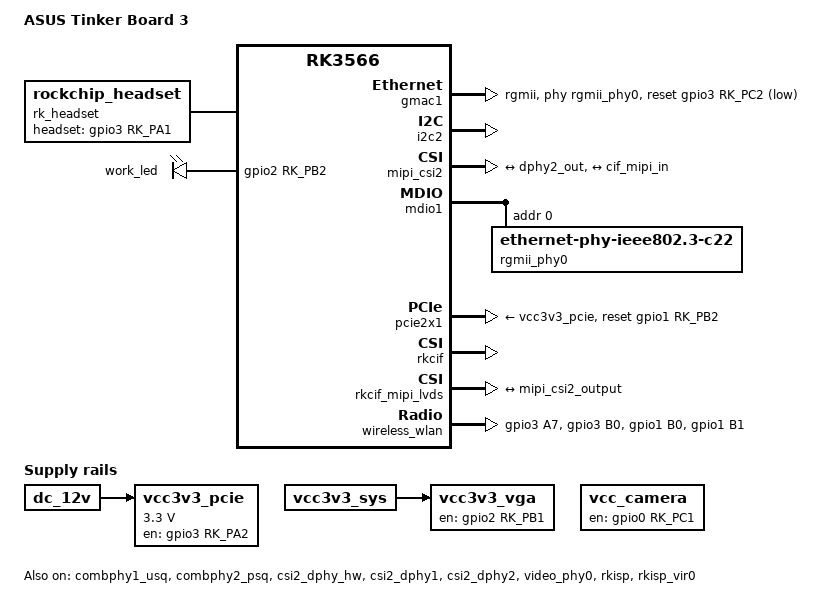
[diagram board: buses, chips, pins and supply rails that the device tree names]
// SPDX-License-Identifier: (GPL-2.0+ OR MIT)
/*
 * Copyright (c) 2020 Rockchip Electronics Co., Ltd.
 */

/dts-v1/;

#include <dt-bindings/gpio/gpio.h>
#include <dt-bindings/pinctrl/rockchip.h>
#include "rk3566.dtsi"
#include "rk3566-tinker_board_3-common.dtsi"

/ {
	model = "ASUS Tinker Board 3";
	compatible = "rockchip,rk3566-evb1-ddr4-v10", "rockchip,rk3566";

	vcc3v3_pcie: gpio-regulator {
		compatible = "regulator-fixed";
		regulator-name = "vcc3v3_pcie";
		regulator-min-microvolt = <3300000>;
		regulator-max-microvolt = <3300000>;
		enable-active-high;
		regulator-always-on;
                regulator-boot-on;
		gpio = <&gpio3 RK_PA2 GPIO_ACTIVE_HIGH>;
		startup-delay-us = <5000>;
		vin-supply = <&dc_12v>;
	};

	rk_headset: rk-headset {
		compatible = "rockchip_headset";
		headset_gpio = <&gpio3 RK_PA1 GPIO_ACTIVE_HIGH>;
		pinctrl-names = "default";
		pinctrl-0 = <&hp_det>;
	};

	vcc3v3_vga: vcc3v3-vga {
		compatible = "regulator-fixed";
		regulator-name = "vcc3v3_vga";
		regulator-always-on;
		regulator-boot-on;
		gpio = <&gpio2 RK_PB1 GPIO_ACTIVE_HIGH>;
		enable-active-high;
		vin-supply = <&vcc3v3_sys>;
	};

	vcc_camera: vcc-camera-regulator {
		compatible = "regulator-fixed";
		gpio = <&gpio0 RK_PC1 GPIO_ACTIVE_HIGH>;
		pinctrl-names = "default";
		pinctrl-0 = <&camera_pwr>;
		regulator-name = "vcc_camera";
		enable-active-high;
		regulator-always-on;
		regulator-boot-on;
	};
};

&audiopwmout_diff {
	status = "disabled";
};

&combphy1_usq {
	status = "okay";
};

&combphy2_psq {
	status = "okay";
};

&csi2_dphy_hw {
	status = "okay";
};

&csi2_dphy1 {
	status = "okay";

	/*
	 * dphy1 only used for split mode,
	 * can be used  concurrently  with dphy2
	 * full mode and split mode are mutually exclusive
	 */
	ports {
		#address-cells = <1>;
		#size-cells = <0>;

		port@0 {
			reg = <0>;
			#address-cells = <1>;
			#size-cells = <0>;

			dphy1_in: endpoint@1 {
				reg = <1>;
				remote-endpoint = <&ov5695_out>;
				data-lanes = <1 2>;
			};
		};

		port@1 {
			reg = <1>;
			#address-cells = <1>;
			#size-cells = <0>;

			dphy1_out: endpoint@1 {
				reg = <1>;
				remote-endpoint = <&isp0_in>;
			};
		};
	};
};

&csi2_dphy2 {
	status = "okay";

	/*
	 * dphy2 only used for split mode,
	 * can be used  concurrently  with dphy1
	 * full mode and split mode are mutually exclusive
	 */
	ports {
		#address-cells = <1>;
		#size-cells = <0>;

		port@0 {
			reg = <0>;
			#address-cells = <1>;
			#size-cells = <0>;

			dphy2_in: endpoint@1 {
				reg = <1>;
				remote-endpoint = <&ov02k10_out>;
				data-lanes = <1 2>;
			};
		};

		port@1 {
			reg = <1>;
			#address-cells = <1>;
			#size-cells = <0>;

			dphy2_out: endpoint@1 {
				reg = <1>;
				remote-endpoint = <&mipi_csi2_input>;
			};
		};
	};
};

&dig_acodec {
	status = "disabled";
	rockchip,pwm-output-mode;
	pinctrl-names = "default";
	pinctrl-0 = <&audiopwm_loutp
		&audiopwm_loutn
		&audiopwm_routp
		&audiopwm_routn
	>;
};

/*
 * video_phy0 needs to be enabled
 * when dsi0 is enabled
 */
&dsi0 {
	status = "disabled";
};

&dsi0_in_vp0 {
	status = "disabled";
};

&dsi0_in_vp1 {
	status = "disabled";
};

&dsi0_panel {
	power-supply = <&vcc3v3_lcd0_n>;
	reset-gpios = <&gpio4 RK_PC5 GPIO_ACTIVE_LOW>;
	pinctrl-names = "default";
	pinctrl-0 = <&lcd0_rst_gpio>;
};

/*
 * video_phy1 needs to be enabled
 * when dsi1 is enabled
 */
&dsi1 {
	status = "disabled";
};

&dsi1_in_vp0 {
	status = "disabled";
};

&dsi1_in_vp1 {
	status = "disabled";
};

&dsi1_panel {
	power-supply = <&vcc3v3_lcd1_n>;
	reset-gpios = <&gpio4 RK_PC6 GPIO_ACTIVE_LOW>;
	pinctrl-names = "default";
	pinctrl-0 = <&lcd1_rst_gpio>;
};

&edp {
	hpd-gpios = <&gpio4 RK_PC4 GPIO_ACTIVE_HIGH>;
	status = "disabled";
};

&edp_phy {
	status = "disabled";
};

&edp_in_vp0 {
	status = "disabled";
};

&edp_in_vp1 {
	status = "disabled";
};

&gmac1 {
	phy-mode = "rgmii";
	clock_in_out = "output";

	snps,reset-gpio = <&gpio3 RK_PC2 GPIO_ACTIVE_LOW>;
	wolirq-gpio = <&gpio3 RK_PC3 GPIO_ACTIVE_LOW>;
	wakeup-enable = "1";
	snps,reset-active-low;
	/* Reset time is 20ms, 100ms for rtl8211f */
	snps,reset-delays-us = <0 20000 100000>;

	assigned-clocks = <&cru SCLK_GMAC1_RX_TX>, <&cru SCLK_GMAC1>;
	assigned-clock-parents = <&cru SCLK_GMAC1_RGMII_SPEED>, <&cru CLK_MAC1_2TOP>;
	assigned-clock-rates = <0>, <125000000>;

	pinctrl-names = "default";
	pinctrl-0 = <&gmac1m1_miim
		     &gmac1m1_tx_bus2
		     &gmac1m1_rx_bus2
		     &gmac1m1_rgmii_clk
		     &gmac1m1_rgmii_bus>;

	tx_delay = <0x36>;
	rx_delay = <0x2b>;

	phy-handle = <&rgmii_phy0>;
	status = "okay";
};

/*
 * power-supply should switche to vcc3v3_lcd1_n
 * when mipi panel is connected to dsi1.
 */
&gt1x {
	power-supply = <&vcc3v3_lcd0_n>;
};

&i2c2 {
	status = "okay";
	pinctrl-names = "default";

	/* split mode: lane0/1 */
	ov5695: ov5695@36 {
		status = "disabled";
		compatible = "ovti,ov5695";
		reg = <0x36>;
		clocks = <&cru CLK_CAM0_OUT>;
		clock-names = "xvclk";
		power-domains = <&power RK3568_PD_VI>;
		pinctrl-names = "default";
		pinctrl-0 = <&cam_clkout0>;
		reset-gpios = <&gpio4 RK_PC0 GPIO_ACTIVE_HIGH>;
		pwdn-gpios = <&gpio2 RK_PC5 GPIO_ACTIVE_HIGH>;
		/*power-gpios = <&gpio0 RK_PC1 GPIO_ACTIVE_HIGH>;*/
		rockchip,camera-module-index = <0>;
		rockchip,camera-module-facing = "back";
		rockchip,camera-module-name = "TongJu";
		rockchip,camera-module-lens-name = "CHT842-MD";
		port {
			ov5695_out: endpoint {
				remote-endpoint = <&dphy1_in>;
				data-lanes = <1 2>;
			};
		};
	};

	ov02k10: ov02k10@36 {
		status = "disabled";
		compatible = "ovti,ov02k10";
		reg = <0x36>;
		clocks = <&cru CLK_CAM1_OUT>;
		clock-names = "xvclk";
		pinctrl-names = "default";
		pinctrl-0 = <&cam_clkout1>;
		reset-gpios = <&gpio3 RK_PB0 GPIO_ACTIVE_HIGH>;
		pwdn-gpios = <&gpio2 RK_PC6 GPIO_ACTIVE_HIGH>;
		power-gpios = <&gpio0 RK_PC1 GPIO_ACTIVE_HIGH>;
		rockchip,camera-module-index = <0>;
		rockchip,camera-module-facing = "back";
		rockchip,camera-module-name = "TongJu";
		rockchip,camera-module-lens-name = "CHT842-MD";
		port {
			ov02k10_out: endpoint {
				remote-endpoint = <&dphy2_in>;
				data-lanes = <1 2>;
			};
		};
	};
};

&i2s3_2ch {
	status = "disabled";
};

&mipi_csi2 {
	status = "okay";

	ports {
		#address-cells = <1>;
		#size-cells = <0>;

		port@0 {
			reg = <0>;
			#address-cells = <1>;
			#size-cells = <0>;

			mipi_csi2_input: endpoint@1 {
				reg = <1>;
				remote-endpoint = <&dphy2_out>;
				data-lanes = <1 2>;
			};
		};

		port@1 {
			reg = <1>;
			#address-cells = <1>;
			#size-cells = <0>;

			mipi_csi2_output: endpoint@0 {
				reg = <0>;
				remote-endpoint = <&cif_mipi_in>;
				data-lanes = <1 2>;
			};
		};
	};
};

&mdio1 {
	rgmii_phy0: phy@0 {
		compatible = "ethernet-phy-ieee802.3-c22";
		reg = <0x0>;
	};
};

&video_phy0 {
	status = "okay";
};

&video_phy1 {
	status = "disabled";
};

&pcie2x1 {
	reset-gpios = <&gpio1 RK_PB2 GPIO_ACTIVE_HIGH>;
	vpcie3v3-supply = <&vcc3v3_pcie>;
	vpcie3v3-always-on;
	status = "okay";
};

&pdm {
	status = "disabled";
	pinctrl-names = "default";
	pinctrl-0 = <&pdmm1_clk1
		     &pdmm1_sdi1
		     &pdmm1_sdi2
		     &pdmm1_sdi3>;
};

&pdmics {
	status = "disabled";
};

&pdm_mic_array {
	status = "disabled";
};

&rkcif {
	status = "okay";
};

&rkcif_mipi_lvds {
	status = "okay";

	port {
		cif_mipi_in: endpoint {
			remote-endpoint = <&mipi_csi2_output>;
			data-lanes = <1 2>;
		};
	};
};

&rkcif_mmu {
	status = "okay";
};

&rkisp {
	status = "okay";
};

&rkisp_mmu {
	status = "okay";
};

&rkisp_vir0 {
	status = "okay";

	port {
		#address-cells = <1>;
		#size-cells = <0>;

		isp0_in: endpoint@0 {
			reg = <0>;
			remote-endpoint = <&dphy1_out>;
		};
	};
};

&route_dsi0 {
	status = "disabled";
	connect = <&vp1_out_dsi0>;
};

&sdmmc2 {
	max-frequency = <150000000>;
	supports-sdio;
	bus-width = <4>;
	disable-wp;
	cap-sd-highspeed;
	cap-sdio-irq;
	keep-power-in-suspend;
	mmc-pwrseq = <&sdio_pwrseq>;
	non-removable;
	pinctrl-names = "default";
	pinctrl-0 = <&sdmmc2m0_bus4 &sdmmc2m0_cmd>;
	sd-uhs-sdr104;
	status = "disabled";
};

&uart1 {
	status = "disabled";
	pinctrl-names = "default";
	pinctrl-0 = <&uart1m1_xfer &uart1m1_ctsn>;
};

&vcc3v3_lcd0_n {
	gpio = <&gpio0 RK_PC0 GPIO_ACTIVE_HIGH>;
	enable-active-high;
};

&vcc3v3_lcd1_n {
	gpio = <&gpio0 RK_PC2 GPIO_ACTIVE_HIGH>;
	enable-active-high;
};

&wireless_bluetooth {
	uart_rts_gpios = <&gpio4 RK_PB6 GPIO_ACTIVE_LOW>;
	pinctrl-names = "default", "rts_gpio";
	pinctrl-0 = <&uart1m1_rtsn>;
	pinctrl-1 = <&uart1_gpios>;
	BT,reset_gpio    = <&gpio4 RK_PA5 GPIO_ACTIVE_HIGH>;
	BT,wake_gpio     = <&gpio4 RK_PA6 GPIO_ACTIVE_HIGH>;
	BT,wake_host_irq = <&gpio4 RK_PB1 GPIO_ACTIVE_HIGH>;
	status = "disable";
};

&wireless_wlan {
	pinctrl-names = "default";
	pinctrl-0 = <&wifi_power_gpios>;
	WIFI,m2e_dis1_n = <&gpio3 RK_PA7 GPIO_ACTIVE_HIGH>;
	WIFI,m2e_dis2_n = <&gpio3 RK_PB0 GPIO_ACTIVE_HIGH>;
	WIFI,host_wake_irq = <&gpio1 RK_PB1 GPIO_ACTIVE_HIGH>;
	status = "okay";
};

&work_led {
	gpios = <&gpio2 RK_PB2 GPIO_ACTIVE_HIGH>;
};

&pinctrl {
	cam {
		camera_pwr: camera-pwr {
			rockchip,pins =
				/* camera power en */
				<0 RK_PC1 RK_FUNC_GPIO &pcfg_pull_none>;
		};
	};

	headphone {
		hp_det: hp-det {
			rockchip,pins = <3 RK_PA1 RK_FUNC_GPIO &pcfg_pull_none>;
		};
	};

	lcd0 {
		lcd0_rst_gpio: lcd0-rst-gpio {
			rockchip,pins = <4 RK_PC5 RK_FUNC_GPIO &pcfg_pull_none>;
		};
	};

	lcd1 {
		lcd1_rst_gpio: lcd1-rst-gpio {
			rockchip,pins = <4 RK_PC6 RK_FUNC_GPIO &pcfg_pull_none>;
		};
	};

	wireless-wlan {
		wifi_host_wake_irq: wifi-host-wake-irq {
			rockchip,pins = <2 RK_PB2 RK_FUNC_GPIO &pcfg_pull_down>;
		};
		wifi_power_gpios: wifi-power-gpios {
			rockchip,pins = <3 RK_PA7 RK_FUNC_GPIO &pcfg_pull_none>,
					<3 RK_PB0 RK_FUNC_GPIO &pcfg_pull_none>,
					<1 RK_PB0 RK_FUNC_GPIO &pcfg_pull_up>,
					<1 RK_PB1 RK_FUNC_GPIO &pcfg_pull_up>;
		};
	};

	wireless-bluetooth {
		uart1_gpios: uart1-gpios {
			rockchip,pins = <4 RK_PB6 RK_FUNC_GPIO &pcfg_pull_none>;
		};
	};
};
